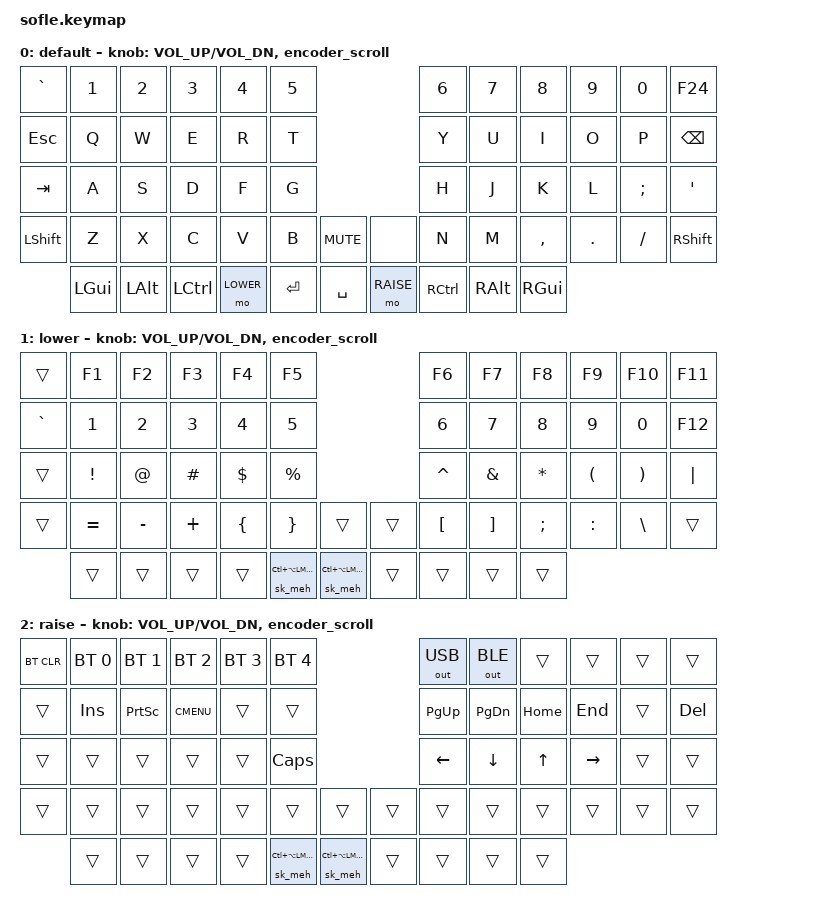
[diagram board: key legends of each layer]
/*
 * Copyright (c) 2020 The ZMK Contributors
 *
 * SPDX-License-Identifier: MIT
 */

#include <behaviors.dtsi>
#include <dt-bindings/zmk/keys.h>
#include <dt-bindings/zmk/bt.h>
#include <dt-bindings/zmk/outputs.h>
#include <dt-bindings/zmk/rgb.h>
#include <dt-bindings/zmk/ext_power.h>

// Sofle defaults: https://github.com/zmkfirmware/zmk/blob/main/app/boards/shields/sofle/sofle.dtsi

// Enable nice!view
&nice_view_spi {
  cs-gpios = <&pro_micro 0 GPIO_ACTIVE_HIGH>;
};

// If needed, adjust the scroll step, must be done before including pointing.h
// (ZMK_MOUSE_DEFAULT_SCRL_VAL was renamed to ZMK_POINTING_DEFAULT_SCRL_VAL)
// ref: https://github.com/zmkfirmware/zmk/issues/72#issuecomment-2081690485
// and: https://github.com/zmkfirmware/zmk/pull/2027#issuecomment-2130938216
//#define ZMK_POINTING_DEFAULT_SCRL_VAL 600 // default is 10

// NOTE: Adding or removing mouse support requires updating the HID Descriptor.
// You will need to re-pair to your devices.
// https://zmk.dev/docs/features/bluetooth#refreshing-the-hid-descriptor
#include <dt-bindings/zmk/pointing.h>
#include <behaviors/mouse_keys.dtsi>

#define BASE 0
#define LOWER 1
#define RAISE 2
#define ADJUST 3

// MEH is sticky
#define MEH &sk_meh LC(LA(LMETA))

/ {

    // explanations of settings: https://zmk.dev/docs/config/encoders
    // steps is number of physical pulses per rotation
    // triggers is number of times bound action is run per rotation
    left_encoder: encoder_left {
        steps = <30>; // default is 80, datasheet says 15
    };

    right_encoder: encoder_right {
        steps = <30>; // default is 80, datasheet says 15
    };

    sensors {
        compatible = "zmk,keymap-sensors";
        sensors = <&left_encoder &right_encoder>;
    };

    behaviors {
      sk_meh: sticky_meh {
        compatible = "zmk,behavior-sticky-key";
        #binding-cells = <1>;
        bindings = <&kp>;
        release-after-ms = <2000>;
        quick-release;
        lazy;
        ignore-modifiers;
      };

      encoder_scroll: encoder_scroll {
        compatible = "zmk,behavior-sensor-rotate";
        #sensor-binding-cells = <0>;
        bindings = <&msc MOVE_DOWN>, <&msc MOVE_UP>;
      };
    };

    keymap {
        compatible = "zmk,keymap";

        default_layer {
            display-name = "default";

            /*
            *
            *   ,-----------------------------------------.                 ,-----------------------------------------.
            *   |   ~  |   1  |   2  |   3  |   4  |   5  |                 |  6   |  7   |  8   |  9   |  0   | F24  |
            *   +------+------+------+------+------|------.                 .------+------+------+------+------+------+
            *   | ESC  |   Q  |   W  |   E  |   R  |   T  |                 |  Y   |  U   |  I   |  O   |  P   | BSPC |
            *   +------+------+------+------+------|------+                 .------+------+------+------+------+------+
            *   | TAB  |   A  |   S  |   D  |   F  |   G  |                 |  H   |  J   |  K   |  L   |  ;   |  '   |
            *   +------+------+------+------+------+------+------.   .------+------+------+------+------+------+------+
            *   |SHIFT |   Z  |   X  |   C  |   V  |   B  | MUTE |   |      |  Q   |  N   |  M   |  ,   |  .   | SHIFT|
            *   `------+------+------+------+------+------+------+   +------+------+------+------+------+------+------'
            *                 | GUI  | ALT  | CTRL | LOWER| ENTER|   | SPACE| RAISE| CTRL | ALT  | GUI  |
            *                 `------+------+------+------+------'   '------+------+------+------+------'
            *
            *   Encoder Left:    VOL DOWN <-> VOL UP
            *   Encoder Right: SROLL DOWN <-> SROLL UP
            */

            bindings = <
                &kp GRAVE     &kp N1        &kp N2        &kp N3        &kp N4        &kp N5                                  &kp N6        &kp N7        &kp N8        &kp N9        &kp N0        &kp F24
                &kp ESC       &kp Q         &kp W         &kp E         &kp R         &kp T                                   &kp Y         &kp U         &kp I         &kp O         &kp P         &kp BSPC
                &kp TAB       &kp A         &kp S         &kp D         &kp F         &kp G                                   &kp H         &kp J         &kp K         &kp L         &kp SEMI      &kp SQT
                &kp LSHFT     &kp Z         &kp X         &kp C         &kp V         &kp B        &kp C_MUTE    &none        &kp N         &kp M         &kp COMMA     &kp DOT       &kp FSLH      &kp RSHFT
                              &kp LGUI      &kp LALT      &kp LCTRL     &mo LOWER     &kp RET      &kp SPACE     &mo RAISE    &kp RCTRL     &kp RALT      &kp RGUI
            >;

            sensor-bindings = <&inc_dec_cp C_VOL_UP C_VOL_DN &encoder_scroll>;
        };

        lower_layer {
            display-name = "lower";

            /*
            *
            *   ,-----------------------------------------.                 ,-----------------------------------------.
            *   |   ~  |  F1  |  F2  |  F3  |  F4  |  F5  |                 |  F6  |  F7  |  F8  |  F9  | F10  | F11  |
            *   +------+------+------+------+------|------.                 .------+------+------+------+------+------+
            *   | ESC  |   1  |   2  |   3  |   4  |   5  |                 |  6   |  7   |  8   |  9   |  0   | F12  |
            *   +------+------+------+------+------|------+                 .------+------+------+------+------+------+
            *   |      |   !  |   @  |   #  |   $  |   %  |                 |  ^   |  &   |  *   |  (   |  )   |  |   |
            *   +------+------+------+------+------+------+------.   .------+------+------+------+------+------+------+
            *   |      |   =  |   -  |   +  |   {  |   }  |      |   |      |  [   |  ]   |  ;   |  :   |  \   |      |
            *   `------+------+------+------+------+------+------+   +------+------+------+------+------+------+------'
            *                 |      |      |      |      | MEH  |   | MEH  |      |      |      |      |
            *                 `------+------+------+------+------'   '------+------+------+------+------'
            *
            *   Encoder Left:    VOL DOWN <-> VOL UP
            *   Encoder Right: SROLL DOWN <-> SROLL UP
            */

            bindings = <
                &trans        &kp F1        &kp F2        &kp F3        &kp F4        &kp F5                                    &kp F6        &kp F7        &kp F8        &kp F9        &kp F10       &kp F11
                &kp GRAVE     &kp N1        &kp N2        &kp N3        &kp N4        &kp N5                                    &kp N6        &kp N7        &kp N8        &kp N9        &kp N0        &kp F12
                &trans        &kp EXCL      &kp AT        &kp HASH      &kp DLLR      &kp PRCNT                                 &kp CARET     &kp AMPS      &kp ASTRK     &kp LPAR      &kp RPAR      &kp PIPE
                &trans        &kp EQUAL     &kp MINUS     &kp PLUS      &kp LBRC      &kp RBRC      &trans        &trans        &kp LBKT      &kp RBKT      &kp SEMI      &kp COLON     &kp BSLH      &trans
                                            &trans        &trans        &trans        &trans        MEH           MEH           &trans        &trans        &trans        &trans
            >;

            sensor-bindings = <&inc_dec_cp C_VOL_UP C_VOL_DN &encoder_scroll>;
        };

        raise_layer {
            display-name = "raise";

            /*
            *
            *   ,-----------------------------------------.                 ,-----------------------------------------.
            *   |BTCLR | BT1  | BT2  |  BT3 |  BT4 |  BT5 |                 |OUTUSB|OUTBLE|      |      |      |      |
            *   +------+------+------+------+------|------.                 .------+------+------+------+------+------+
            *   |      | INS  | PSCR | MENU |      |      |                 | PGUP | PGDN | HOME | END  |      | DEL  |
            *   +------+------+------+------+------|------+                 .------+------+------+------+------+------+
            *   |      |      |      |      |      | CAPS |                 | <-   | v    | ^    | ->   |      |      |
            *   +------+------+------+------+------+------+------.   .------+------+------+------+------+------+------+
            *   |      |      |      |      |      |      |      |   |      |      |      |      |      |      |      |
            *   `------+------+------+------+------+------+------+   +------+------+------+------+------+------+------'
            *                 |      |      |      |      | MEH  |   | MEH  |      |      |      |      |
            *                 `------+------+------+------+------'   '------+------+------+------+------'
            *
            *   Encoder Left:    VOL DOWN <-> VOL UP
            *   Encoder Right: SROLL DOWN <-> SROLL UP
            */

            bindings = <
                &bt BT_CLR    &bt BT_SEL 0  &bt BT_SEL 1  &bt BT_SEL 2  &bt BT_SEL 3  &bt BT_SEL 4                             &out OUT_USB  &out OUT_BLE  &trans        &trans        &trans        &trans
                &trans        &kp INS       &kp PSCRN     &kp K_CMENU   &trans        &trans                                   &kp PG_UP     &kp PG_DN     &kp HOME      &kp END       &trans        &kp DEL
                &trans        &trans        &trans        &trans        &trans        &kp CLCK                                 &kp LEFT      &kp DOWN      &kp UP        &kp RIGHT     &trans        &trans
                &trans        &trans        &trans        &trans        &trans        &trans       &trans        &trans        &trans        &trans        &trans        &trans        &trans        &trans
                                            &trans        &trans        &trans        &trans       MEH           MEH           &trans        &trans        &trans        &trans
            >;

            sensor-bindings = <&inc_dec_cp C_VOL_UP C_VOL_DN &encoder_scroll>;
        };
    };
};
